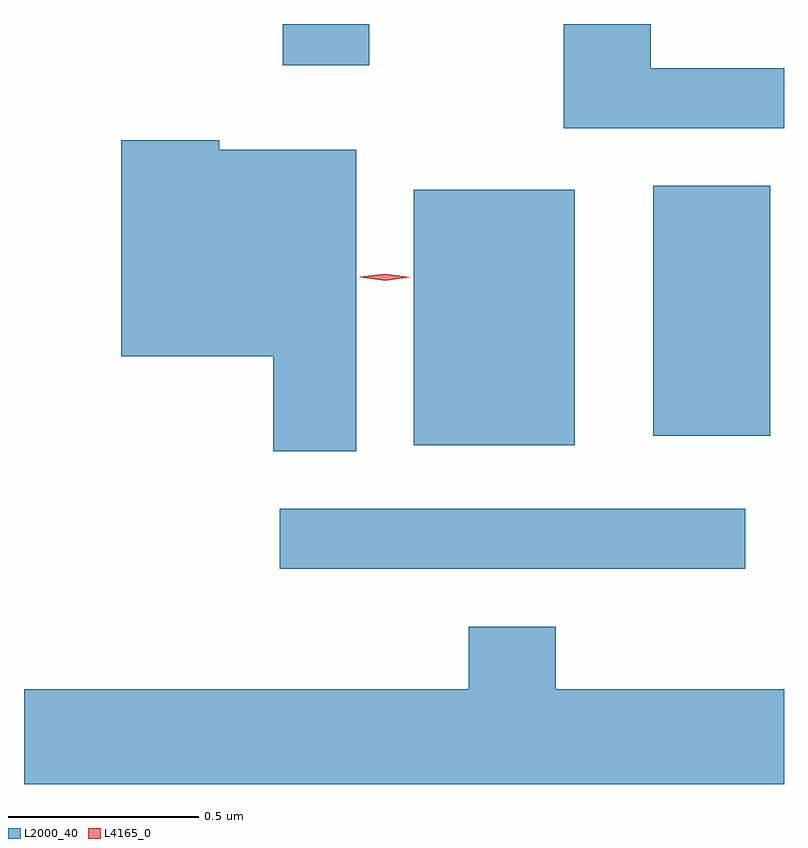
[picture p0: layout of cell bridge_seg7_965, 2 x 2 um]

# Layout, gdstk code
import gdstk
lib = gdstk.Library(unit=1e-6, precision=1e-09)
def R(c, l, rs):  # rectangles x0, y0, x1, y1
    for r in rs: c.add(gdstk.rectangle(r[:2], r[2:], *l))
def P(c, l, *ps):  # polygons
    for p in ps: c.add(gdstk.Polygon(p, *l))
L2000_40 = (2000, 40)
L4165_0 = (4165, 0)

bridge_seg7_965 = lib.new_cell('bridge_seg7_965')
R(bridge_seg7_965, L2000_40, [(520.933,1686.041,522.158,1686.199), (521.286,1686.366,521.709,1687.039), (521.916,1686.391,522.224,1687.049), (520.941,1687.366,521.169,1687.475)])
P(bridge_seg7_965, L2000_40, [(522.26,1687.359),(521.909,1687.359),(521.909,1687.475),(521.681,1687.475),(521.681,1687.201),(522.26,1687.201)],
  [(521.134,1687.144),(520.774,1687.144),(520.774,1687.169),(520.516,1687.169),(520.516,1686.601),(520.916,1686.601),(520.916,1686.351),(521.134,1686.351)],
  [(522.26,1685.724),(521.659,1685.724),(521.659,1685.889),(521.431,1685.889),(521.431,1685.724),(520.26,1685.724),(520.26,1685.475),(522.26,1685.475)])
P(bridge_seg7_965, L4165_0, [(521.21,1686.799),(521.144,1686.809),(521.144,1686.809),(521.144,1686.81),(521.21,1686.818),(521.276,1686.808),(521.276,1686.808),(521.276,1686.808)])

lib.write_gds('bridge_seg7_965.gds')
